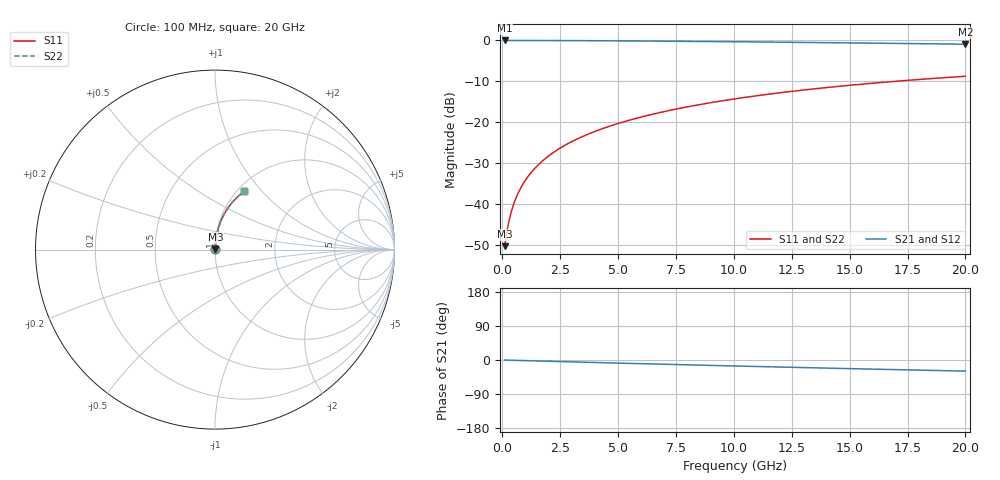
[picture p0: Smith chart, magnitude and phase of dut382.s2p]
! Touchstone file exported from HFSS 2024.1.0
!  File:  C:/UserFiles/LocalFiles/RDL_TSV_Batchsim/temp_RDL_top_382_1779609420.aedt
!  Generated:  03:59:38 PM May 24, 2026
!  Design:  RDL_top
!  Project:  temp_RDL_top_382_1779609420
!  Setup:  Setup1
!  Solution:  Sweep
! Variables:
!  dtsv = 10.80580581um
!  hbump = 3um
!  htsv = 84.93um
!  ldown = 100um
!  lrdl = 323.61um
!  p = 40
!  p1 = 59.34um
!  rhole = 1um
!  t = 450um
!  tdown = 3.915915916um
!  trdl = 3.81um
!  wdown = 15.38538539um
!  wrdl = 13.9um
# GHz S MA R 50.000000
! Terminal data exported
! Port[1] = Box2_T1
! Port[2] = Box2_T2
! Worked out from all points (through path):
!   200 points, 100 MHz to 20 GHz, reference 50 ohm
!   highest |S21| = -0.02 dB at 100 MHz (marker M1); lowest = -0.9 dB at 20 GHz (marker M2)
!   group delay of S21, straight-line fit = 4.06 ps
!   lowest |S11| = -50.4 dB at 100 MHz (marker M3), VSWR 1.01, Z = 50.2 + j0.199 ohm
!   |S11| at or under -10 dB: start of sweep to 17.02 GHz
!   |S22| runs from -50.4 to -8.8 dB; largest |S21 - S12| = 2.4e-15
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0.1  0.003032 40.8  0.9977 -0.2  0.9977 -0.2  0.003032 40.8
! Gamma 0 0 0 0
! Port Impedance 50 0 50 0
0.2  0.004593 59.3  0.9977 -0.3  0.9977 -0.3  0.004593 59.3
0.3  0.006371 67.8  0.9976 -0.5  0.9976 -0.5  0.006371 67.8
0.4  0.008211 72.4  0.9975 -0.7  0.9975 -0.7  0.008211 72.4
0.5  0.01007 75.3  0.9974 -0.8  0.9974 -0.8  0.01007 75.3
0.6  0.01194 77.2  0.9973 -1.0  0.9973 -1.0  0.01194 77.2
0.8  0.0157 79.7  0.9971 -1.3  0.9971 -1.3  0.0157 79.7
1.1  0.02137 81.8  0.9968 -1.8  0.9968 -1.8  0.02137 81.8
1.5  0.02897 83.1  0.9963 -2.5  0.9963 -2.5  0.02897 83.1
1.8  0.03469 83.5  0.9959 -3.0  0.9959 -3.0  0.03469 83.5
2.1  0.04042 83.8  0.9953 -3.5  0.9953 -3.5  0.04042 83.8
2.7  0.05191 83.9  0.994 -4.5  0.994 -4.5  0.05191 83.9
3.5  0.06726 83.6  0.9919 -5.8  0.9919 -5.8  0.06726 83.6
4.2  0.08073 83.1  0.9896 -6.9  0.9896 -6.9  0.08073 83.1
5  0.09613 82.4  0.9867 -8.2  0.9867 -8.2  0.09613 82.4
5.9  0.1135 81.4  0.983 -9.6  0.983 -9.6  0.1135 81.4
6.8  0.1308 80.4  0.9789 -11.0  0.9789 -11.0  0.1308 80.4
8.3  0.1595 78.6  0.9715 -13.2  0.9715 -13.2  0.1595 78.6
10.1  0.1935 76.3  0.9618 -15.9  0.9618 -15.9  0.1935 76.3
13.4  0.254 71.9  0.942 -20.6  0.942 -20.6  0.254 71.9
16.7  0.311 67.5  0.9205 -25.1  0.9205 -25.1  0.311 67.5
20  0.3638 63.2  0.8976 -29.3  0.8976 -29.3  0.3638 63.2
